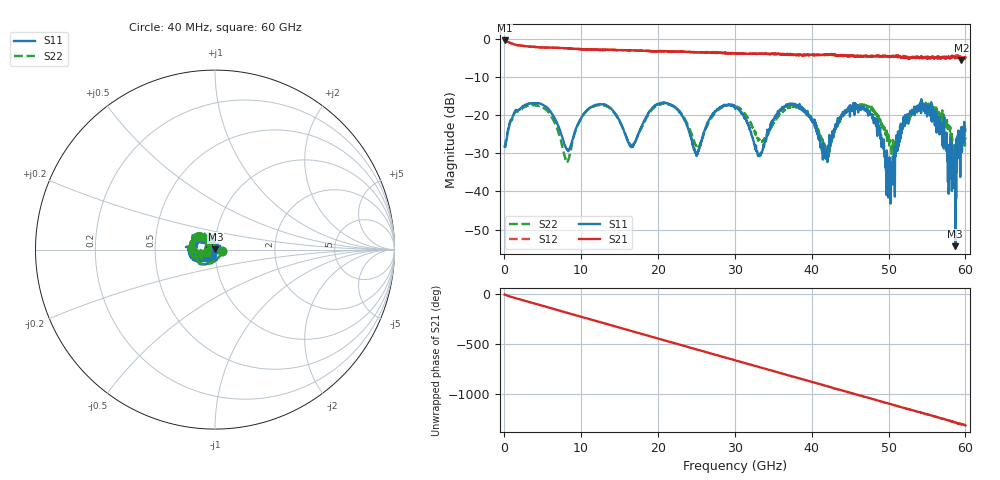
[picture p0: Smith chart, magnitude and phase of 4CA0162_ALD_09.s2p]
! File created by 'SoftPlot +Plus+ Measurement Management Software'
! SoftPlot +Plus+ Measurement Management Software
! Start 40.000000 MHz  Stop 60.000000 GHz  Points 1601
# MHZ S RI R 50
! S-Parameter data, F S11 S21 S12 S22
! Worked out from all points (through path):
!   1601 points, 40 MHz to 60 GHz, reference 50 ohm
!   highest |S21| = -0.37 dB at 40 MHz (marker M1); lowest = -5.5 dB at 59.48 GHz (marker M2)
!   group delay of S21, straight-line fit = 60.7 ps
!   lowest |S11| = -54.3 dB at 58.69 GHz (marker M3), VSWR 1.00, Z = 50.2 + j0.0685 ohm
!   |S11| at or under -10 dB: start of sweep to end of sweep
!   |S22| runs from -32.3 to -16.6 dB; largest |S21 - S12| = 0.063
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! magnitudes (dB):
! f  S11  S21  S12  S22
! 40 MHz  -28.2  -0.4  -0.4  -28.1
! 1.427 GHz  -18.9  -1.5  -1.5  -19.2
! 4.462 GHz  -16.8  -2.2  -2.2  -17.5
! 8.21 GHz  -29.0  -2.5  -2.4  -32.0
! 10.05 GHz  -20.6  -2.7  -2.7  -20.7
! 13.42 GHz  -17.5  -2.8  -2.8  -17.7
! 16.57 GHz  -28.3  -3.0  -3.0  -28.1
! 20.05 GHz  -17.0  -3.2  -3.2  -17.3
! 25 GHz  -30.7  -3.5  -3.4  -28.2
! 30.02 GHz  -17.7  -3.7  -3.7  -17.4
! 33.24 GHz  -30.5  -3.8  -3.9  -26.8
! 36.43 GHz  -17.8  -4.1  -3.9  -18.8
! 40.03 GHz  -20.9  -4.1  -4.1  -21.2
! 41.9 GHz  -29.0  -4.1  -4.1  -29.5
! 44.11 GHz  -20.0  -4.5  -4.3  -20.0
! 47 GHz  -18.5  -4.5  -4.5  -17.6
! 50.03 GHz  -38.4  -4.6  -4.5  -25.4
! 51.98 GHz  -20.9  -4.7  -4.7  -21.7
! 54.27 GHz  -15.8  -4.5  -4.9  -17.4
! 58.69 GHz  -54.3  -4.8  -4.4  -28.8
! 59.48 GHz  -25.3  -5.5  -4.7  -27.7
! 60 GHz  -23.7  -4.8  -5.4  -25.8
